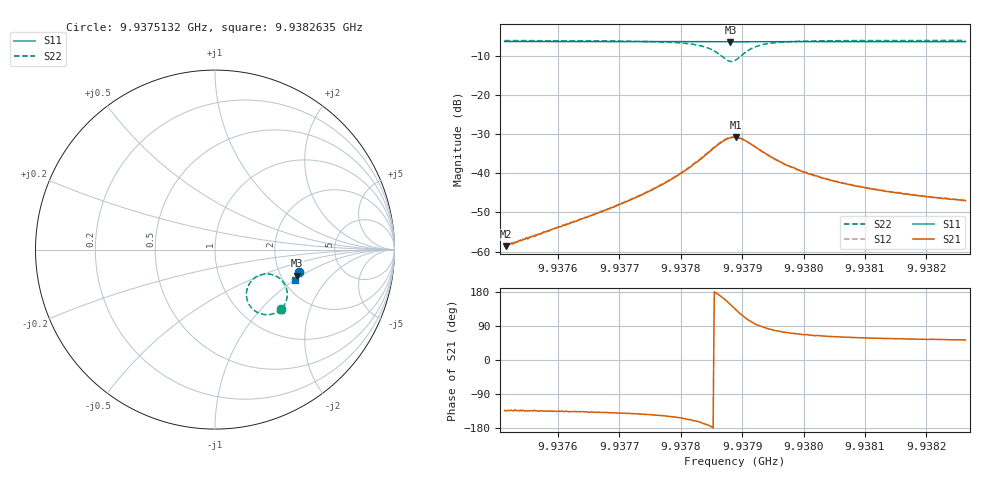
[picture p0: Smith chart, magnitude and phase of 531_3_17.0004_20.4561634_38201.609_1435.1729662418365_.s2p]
#  HZ  S  RI  R  50.00
! Rohde & Schwarz Vector Network Analyzer
! Rohde-Schwarz,ZNB20-2Port,1311601062101988,3.16
! Created: UTC 3/20/2024, 11:15:55 PM
! freq[Hz]  re:S11  im:S11  re:S21  im:S21  re:S12  im:S12  re:S22  im:S22
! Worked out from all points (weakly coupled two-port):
!   401 points, 9.9375132 GHz to 9.9382635 GHz, reference 50 ohm
!   highest |S21| = -30.80 dB at 9.9378902 GHz (marker M1); lowest = -58.6 dB at 9.9375151 GHz (marker M2)
!   lowest |S11| = -6.4 dB at 9.9378808 GHz (marker M3), VSWR 2.83, Z = 121 - j45.6 ohm
!   |S11| at or under -10 dB: nowhere
!   |S22| runs from -11.4 to -6.1 dB; largest |S21 - S12| = 0.0013
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9.93751318e9  0.4669 -0.1223  -0.000817 -0.000865  -0.000814 -0.000859  0.3696 -0.3313
9.93751505e9  0.4669 -0.1225  -0.00082 -0.00084  -0.000861 -0.00085  0.3693 -0.3315
9.93763886e9  0.4639 -0.1308  -0.0019 -0.00181  -0.00195 -0.00178  0.3536 -0.343
9.93771764e9  0.4619 -0.1361  -0.00355 -0.00288  -0.00365 -0.00284  0.3352 -0.3532
9.93776454e9  0.4606 -0.1394  -0.00571 -0.0038  -0.00583 -0.00379  0.3147 -0.3598
9.93780581e9  0.4593 -0.1422  -0.0096 -0.00461  -0.00987 -0.00449  0.2803 -0.3625
9.93783957e9  0.4575 -0.1445  -0.0166 -0.00321  -0.0171 -0.00316  0.225 -0.3436
9.9378527e9  0.4567 -0.1451  -0.0207 -0.000455  -0.0212 -0.000244  0.1964 -0.3158
9.93786583e9  0.4558 -0.1452  -0.0241 0.00548  -0.0247 0.0061  0.1759 -0.2638
9.93787521e9  0.4554 -0.1451  -0.0249 0.0116  -0.025 0.0127  0.1808 -0.2131
9.93788084e9  0.4551 -0.1451  -0.0238 0.0157  -0.0236 0.0166  0.1961 -0.183
9.93788834e9  0.4553 -0.1449  -0.0202 0.0202  -0.02 0.0216  0.2305 -0.1516
9.93789022e9  0.4554 -0.1449  -0.0193 0.0214  -0.0187 0.0224  0.2405 -0.1461
9.9378996e9  0.4558 -0.1449  -0.0131 0.0241  -0.0124 0.0248  0.2931 -0.1356
9.93791273e9  0.4564 -0.1456  -0.00545 0.0234  -0.00482 0.0238  0.3506 -0.1536
9.93793149e9  0.4568 -0.1473  0.000539 0.019  0.00103 0.0193  0.3895 -0.1964
9.93797088e9  0.4564 -0.1505  0.00381 0.0123  0.00407 0.0124  0.4023 -0.2562
9.93801403e9  0.4554 -0.1537  0.00399 0.00862  0.00422 0.00866  0.3965 -0.2873
9.93806467e9  0.454 -0.1572  0.0037 0.00648  0.00384 0.00652  0.3882 -0.306
9.93813971e9  0.452 -0.1621  0.00321 0.00485  0.0033 0.00485  0.3783 -0.3218
9.93821662e9  0.4498 -0.1672  0.00285 0.00393  0.00296 0.00393  0.3704 -0.3315
9.93826352e9  0.4485 -0.1703  0.0027 0.00354  0.00281 0.00356  0.3663 -0.3366
